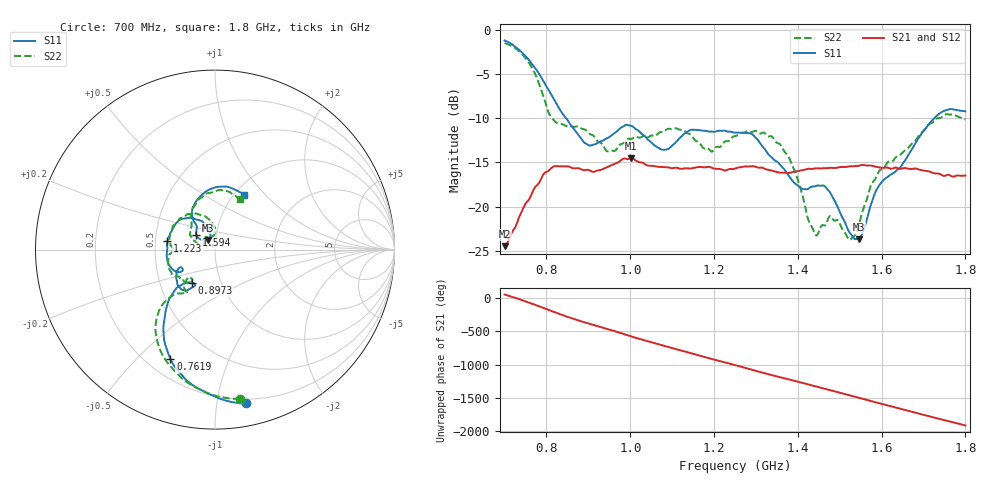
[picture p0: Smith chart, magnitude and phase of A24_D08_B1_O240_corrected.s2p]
! Created with skrf 1.9.0 (http://scikit-rf.org).
# Hz S RI R 50.0
!freq ReS11 ImS11 ReS21 ImS21 ReS12 ImS12 ReS22 ImS22
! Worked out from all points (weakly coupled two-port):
!   1601 points, 700 MHz to 1.8 GHz, reference 50 ohm
!   highest |S21| = -14.53 dB at 1.002 GHz (marker M1); lowest = -24.5 dB at 700.7 MHz (marker M2)
!   lowest |S11| = -23.7 dB at 1.546 GHz (marker M3), VSWR 1.14, Z = 46.1 + j4.93 ohm
!   |S11| at or under -10 dB: 847.1 MHz to 1.725 GHz (878.3 MHz wide, 68.3 % of centre)
!   |S22| runs from -23.8 to -1.5 dB; largest |S21 - S12| = 0.0037
!   S11 on the Smith chart (normalised r, x): 700 MHz: 0.17, -1.21; 761.9 MHz: 0.29, -0.63; 897.3 MHz: 0.73, -0.28; 1.223 GHz: 0.58, +0.06; 1.594 GHz: 0.80, +0.13; 1.8 GHz: 1.11, +0.77
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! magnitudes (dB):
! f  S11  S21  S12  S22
! 700 MHz  -1.2  -24.5  -24.3  -1.5
! 700.7 MHz  -1.2  -24.5  -24.2  -1.5
! 761.9 MHz  -3.6  -18.9  -18.8  -4.0
! 814.1 MHz  -7.5  -15.5  -15.6  -10.0
! 883.6 MHz  -12.3  -15.8  -15.7  -11.2
! 897.3 MHz  -13.0  -15.8  -15.9  -11.5
! 946.8 MHz  -12.2  -15.5  -15.5  -13.7
! 1.002 GHz  -10.9  -14.5  -14.6  -12.3
! 1.067 GHz  -13.3  -15.5  -15.4  -11.7
! 1.223 GHz  -11.4  -15.9  -15.9  -12.7
! 1.25 GHz  -11.6  -15.7  -15.6  -12.0
! 1.292 GHz  -11.8  -15.4  -15.5  -11.5
! 1.358 GHz  -15.3  -16.2  -16.1  -13.0
! 1.394 GHz  -17.4  -16.1  -16.0  -16.0
! 1.434 GHz  -17.7  -15.7  -15.7  -22.3
! 1.472 GHz  -18.1  -15.6  -15.6  -21.4
! 1.524 GHz  -23.0  -15.4  -15.4  -23.8
! 1.546 GHz  -23.7  -15.4  -15.3  -22.0
! 1.594 GHz  -17.6  -15.6  -15.5  -16.0
! 1.617 GHz  -16.5  -15.6  -15.6  -14.9
! 1.733 GHz  -9.6  -16.3  -16.3  -10.0
! 1.8 GHz  -9.2  -16.5  -16.5  -10.1
